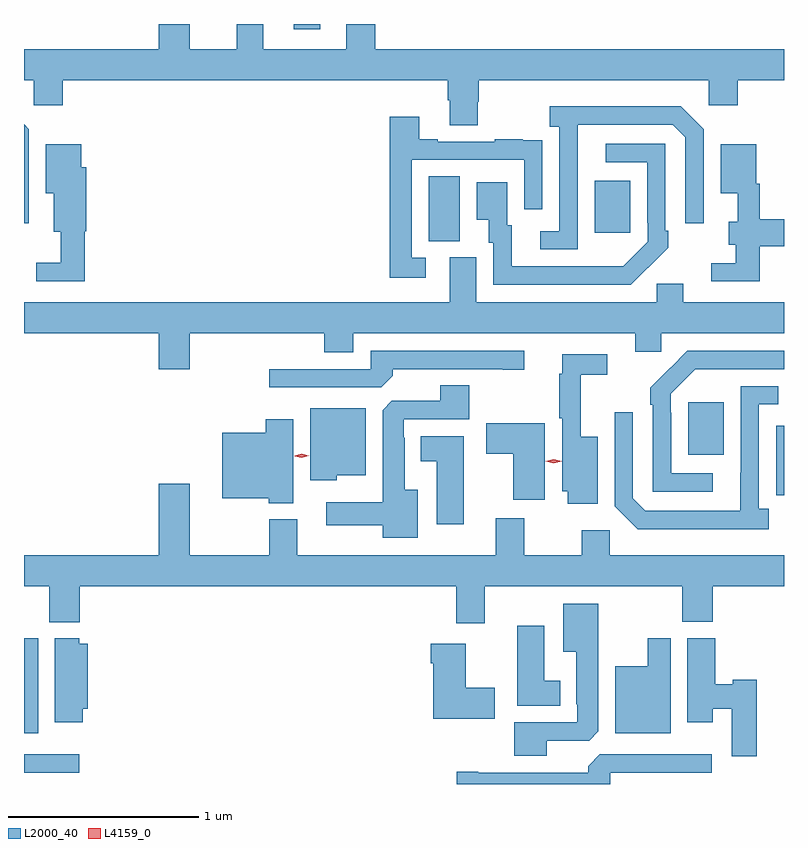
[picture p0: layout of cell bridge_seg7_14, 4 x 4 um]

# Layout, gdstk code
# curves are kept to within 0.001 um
import gdstk
lib = gdstk.Library(unit=1e-6, precision=1e-09)
def R(c, l, rs):  # rectangles x0, y0, x1, y1
    for r in rs: c.add(gdstk.rectangle(r[:2], r[2:], *l))
def P(c, l, *ps):  # polygons
    for p in ps: c.add(gdstk.Polygon(p, *l))
L2000_40 = (2000, 40)
L4159_0 = (4159, 0)

bridge_seg7_14 = lib.new_cell('bridge_seg7_14')
R(bridge_seg7_14, L2000_40, [(1099.364,1046.256,1099.654,1046.352), (1099.364,1046.462,1099.438,1046.962), (1102.859,1047.929,1103.047,1048.204), (1101.494,1049.053,1101.658,1049.396), (1102.367,1049.097,1102.555,1049.371), (1100.783,1050.168,1100.923,1050.196)])
P(bridge_seg7_14, L2000_40, [(1101.753,1049.787),(1101.758,1049.787),(1101.758,1049.9),(1102.968,1049.9),(1102.968,1049.769),(1103.12,1049.769),(1103.12,1049.9),(1103.364,1049.9),(1103.364,1050.064),(1101.212,1050.064),(1101.212,1050.196),(1101.059,1050.196),(1101.059,1050.064),(1100.623,1050.064),(1100.623,1050.196),(1100.483,1050.196),(1100.483,1050.064),(1100.236,1050.064),(1100.236,1050.196),(1100.072,1050.196),(1100.072,1050.064),(1099.364,1050.064),(1099.364,1049.9),(1099.416,1049.9),(1099.416,1049.769),(1099.568,1049.769),(1099.568,1049.9),(1101.593,1049.9),(1101.593,1049.794),(1101.605,1049.794),(1101.605,1049.662),(1101.753,1049.662)],
  [(1102.278,1049.467),(1102.279,1049.667),(1102.779,1049.667),(1102.845,1049.601),(1102.845,1049.148),(1102.941,1049.148),(1102.941,1049.643),(1102.82,1049.764),(1102.131,1049.764),(1102.131,1049.654),(1102.182,1049.654),(1102.182,1049.106),(1102.08,1049.106),(1102.08,1049.01),(1102.278,1049.01)],
  [(1101.478,1048.965),(1101.405,1048.965),(1101.405,1049.481),(1101.996,1049.481),(1101.996,1049.22),(1102.092,1049.22),(1102.092,1049.474),(1102.091,1049.474),(1102.091,1049.583),(1101.989,1049.583),(1101.989,1049.59),(1101.841,1049.59),(1101.841,1049.577),(1101.541,1049.577),(1101.541,1049.59),(1101.445,1049.59),(1101.445,1049.707),(1101.289,1049.707),(1101.289,1048.86),(1101.478,1048.86)],
  [(1099.389,1049.643),(1099.364,1049.668),(1099.364,1049.148),(1099.389,1049.148)],
  [(1102.649,1048.915),(1102.65,1048.914),(1102.755,1049.019),(1102.755,1049.107),(1102.74,1049.107),(1102.74,1049.565),(1102.425,1049.565),(1102.425,1049.469),(1102.644,1049.469),(1102.644,1049.149),(1102.647,1049.149),(1102.647,1049.049),(1102.519,1048.921),(1101.931,1048.92),(1101.931,1049.136),(1101.907,1049.136),(1101.907,1049.362),(1101.746,1049.362),(1101.746,1049.165),(1101.809,1049.165),(1101.809,1049.046),(1101.834,1049.046),(1101.834,1048.824),(1102.558,1048.824)],
  [(1103.237,1049.026),(1103.364,1049.026),(1103.364,1049.168),(1103.237,1049.168),(1103.237,1049.355),(1103.218,1049.355),(1103.218,1049.563),(1103.03,1049.563),(1103.03,1049.306),(1103.12,1049.306),(1103.12,1049.155),(1103.072,1049.155),(1103.072,1049.033),(1103.109,1049.033),(1103.109,1048.938),(1102.98,1048.938),(1102.98,1048.842),(1103.237,1048.842)],
  [(1099.685,1049.106),(1099.691,1049.106),(1099.691,1049.442),(1099.666,1049.442),(1099.666,1049.563),(1099.478,1049.563),(1099.478,1049.306),(1099.52,1049.306),(1099.52,1049.102),(1099.557,1049.102),(1099.557,1048.939),(1099.428,1048.939),(1099.428,1048.842),(1099.685,1048.842)],
  [(1100.236,1048.568),(1100.945,1048.568),(1100.945,1048.469),(1101.097,1048.469),(1101.097,1048.568),(1102.58,1048.568),(1102.58,1048.47),(1102.719,1048.47),(1102.719,1048.568),(1103.364,1048.568),(1103.364,1048.732),(1102.834,1048.732),(1102.834,1048.83),(1102.695,1048.83),(1102.695,1048.732),(1101.745,1048.732),(1101.745,1048.968),(1101.605,1048.968),(1101.605,1048.732),(1099.364,1048.732),(1099.364,1048.568),(1100.072,1048.568),(1100.072,1048.38),(1100.236,1048.38)],
  [(1101.305,1048.346),(1101.305,1048.38),(1101.884,1048.38),(1101.884,1048.375),(1101.997,1048.375),(1101.997,1048.476),(1101.189,1048.476),(1101.189,1048.38),(1100.655,1048.38),(1100.655,1048.284),(1101.243,1048.284)],
  [(1102.99,1047.831),(1102.77,1047.831),(1102.77,1048.151),(1102.767,1048.151),(1102.767,1048.251),(1102.896,1048.38),(1103.364,1048.38),(1103.364,1048.476),(1102.856,1048.476),(1102.659,1048.281),(1102.659,1048.193),(1102.674,1048.193),(1102.674,1047.735),(1102.99,1047.735)],
  [(1102.384,1048.024),(1102.295,1048.024),(1102.295,1048.35),(1102.435,1048.35),(1102.435,1048.458),(1102.196,1048.458),(1102.196,1048.355),(1102.181,1048.355),(1102.181,1048.12),(1102.197,1048.12),(1102.197,1047.737),(1102.226,1047.737),(1102.226,1047.672),(1102.384,1047.672)],
  [(1101.436,1047.745),(1101.367,1047.745),(1101.367,1048.019),(1101.363,1048.019),(1101.363,1048.116),(1101.707,1048.116),(1101.707,1048.295),(1101.554,1048.295),(1101.554,1048.212),(1101.3,1048.212),(1101.251,1048.163),(1101.251,1047.679),(1100.955,1047.679),(1100.955,1047.557),(1101.251,1047.557),(1101.251,1047.491),(1101.436,1047.491)],
  [(1103.284,1047.646),(1103.232,1047.646),(1103.232,1048.194),(1103.335,1048.194),(1103.335,1048.29),(1103.136,1048.29),(1103.135,1047.633),(1102.635,1047.633),(1102.569,1047.699),(1102.569,1048.153),(1102.473,1048.153),(1102.473,1047.657),(1102.594,1047.536),(1103.284,1047.536)],
  [(1101.009,1047.821),(1101.163,1047.821),(1101.163,1048.174),(1100.87,1048.174),(1100.87,1047.794),(1101.009,1047.794)],
  [(1100.782,1048.117),(1100.636,1048.117),(1100.636,1048.045),(1100.408,1048.045),(1100.408,1047.701),(1100.652,1047.701),(1100.652,1047.674),(1100.782,1047.674)],
  [(1102.105,1047.992),(1102.104,1047.992),(1102.104,1048.095),(1101.798,1048.095),(1101.798,1047.934),(1101.938,1047.934),(1101.938,1047.693),(1102.105,1047.693)],
  [(1103.364,1048.081),(1103.322,1048.081),(1103.322,1047.826),(1103.323,1047.826),(1103.323,1047.717),(1103.364,1047.717)],
  [(1101.679,1048.027),(1101.452,1048.027),(1101.452,1047.896),(1101.536,1047.896),(1101.536,1047.564),(1101.679,1047.564)],
  [(1101.79,1047.236),(1102.828,1047.236),(1102.828,1047.049),(1102.988,1047.049),(1102.988,1047.236),(1103.364,1047.236),(1103.364,1047.4),(1102.446,1047.4),(1102.446,1047.532),(1102.3,1047.532),(1102.3,1047.4),(1101.996,1047.4),(1101.996,1047.595),(1101.848,1047.595),(1101.848,1047.4),(1100.803,1047.4),(1100.803,1047.589),(1100.656,1047.589),(1100.656,1047.4),(1100.236,1047.4),(1100.236,1047.775),(1100.072,1047.775),(1100.072,1047.4),(1099.364,1047.4),(1099.364,1047.236),(1099.498,1047.236),(1099.498,1047.047),(1099.658,1047.047),(1099.658,1047.236),(1101.638,1047.236),(1101.638,1047.042),(1101.79,1047.042)],
  [(1102.114,1046.424),(1102.338,1046.424),(1102.387,1046.473),(1102.387,1047.145),(1102.202,1047.145),(1102.202,1046.891),(1102.271,1046.891),(1102.271,1046.617),(1102.275,1046.617),(1102.275,1046.52),(1101.944,1046.52),(1101.944,1046.345),(1102.114,1046.345)],
  [(1102.186,1046.74),(1102.102,1046.74),(1102.102,1047.028),(1101.959,1047.028),(1101.959,1046.609),(1102.186,1046.609)],
  [(1103.22,1046.744),(1103.094,1046.744),(1103.094,1046.721),(1103.003,1046.721),(1103.003,1046.964),(1102.856,1046.964),(1102.856,1046.52),(1102.99,1046.52),(1102.99,1046.591),(1103.09,1046.591),(1103.09,1046.343),(1103.22,1046.343)],
  [(1102.768,1046.962),(1102.646,1046.962),(1102.646,1046.815),(1102.475,1046.815),(1102.475,1046.462),(1102.768,1046.462)],
  [(1099.673,1046.591),(1099.699,1046.591),(1099.699,1046.935),(1099.656,1046.935),(1099.656,1046.962),(1099.526,1046.962),(1099.526,1046.52),(1099.673,1046.52)],
  [(1101.841,1046.703),(1101.688,1046.703),(1101.688,1046.935),(1101.506,1046.935),(1101.506,1046.831),(1101.518,1046.831),(1101.518,1046.54),(1101.841,1046.54)],
  [(1102.449,1046.256),(1102.984,1046.256),(1102.984,1046.352),(1102.395,1046.352),(1102.334,1046.29),(1102.334,1046.256),(1101.754,1046.256),(1101.754,1046.261),(1101.642,1046.261),(1101.642,1046.196),(1102.449,1046.196)])
P(bridge_seg7_14, L4159_0, [(1102.152,1047.885),(1102.111,1047.895),(1102.11,1047.895),(1102.111,1047.896),(1102.152,1047.905),(1102.193,1047.895),(1102.193,1047.894),(1102.193,1047.894)],
  [(1100.827,1047.913),(1100.79,1047.922),(1100.79,1047.923),(1100.79,1047.923),(1100.826,1047.933),(1100.863,1047.924),(1100.863,1047.924),(1100.863,1047.924)])

lib.write_gds('bridge_seg7_14.gds')
